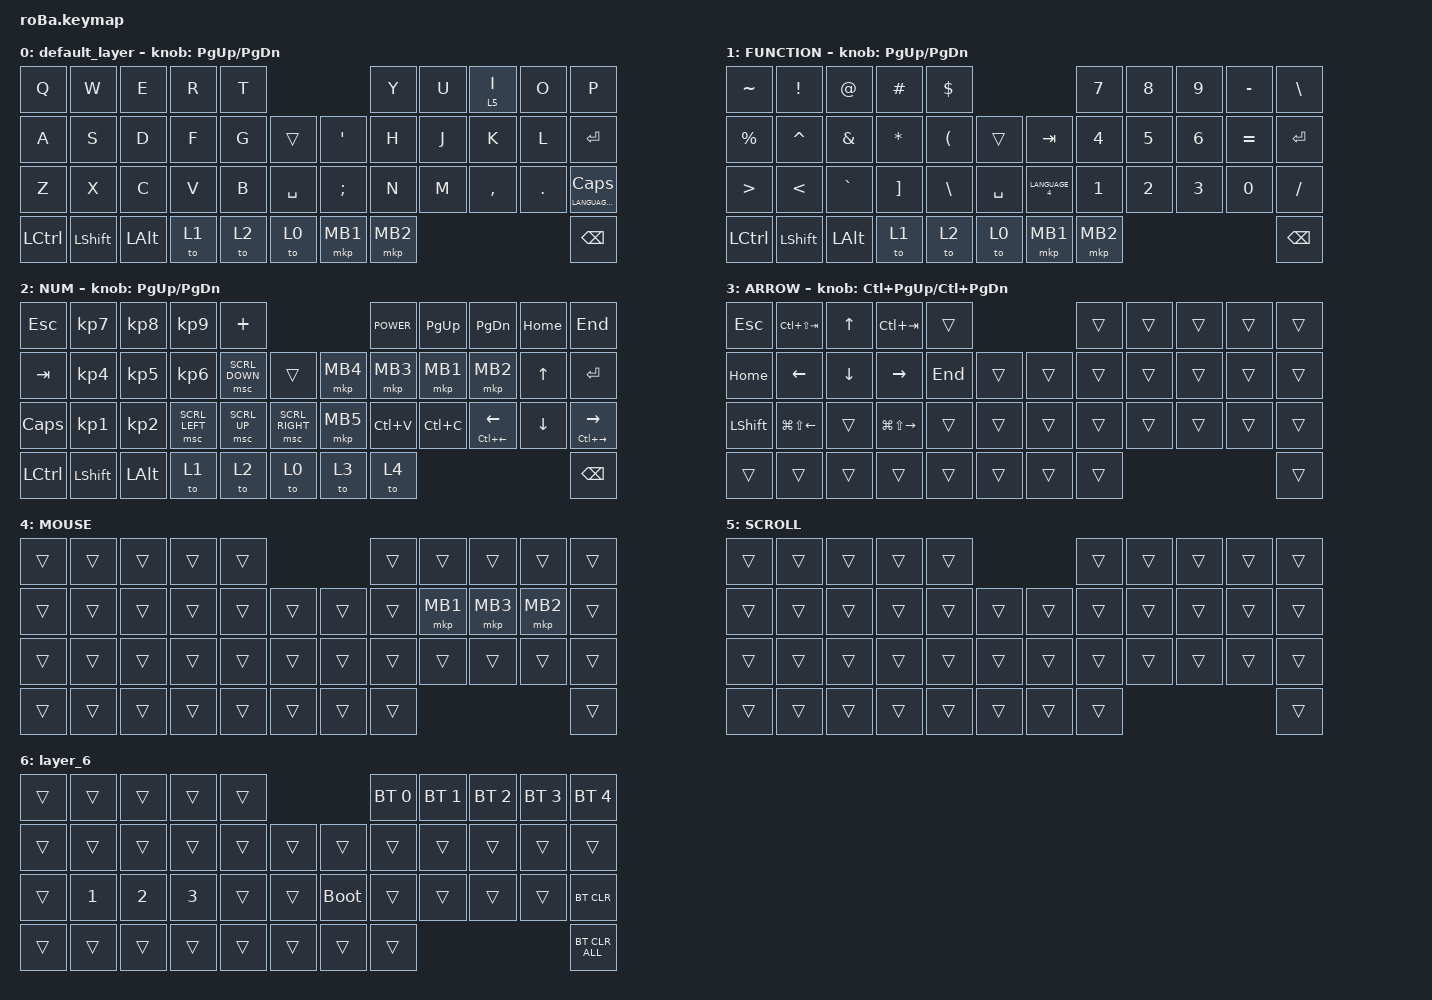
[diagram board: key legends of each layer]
#include <behaviors.dtsi>
#include <dt-bindings/zmk/bt.h>
#include <dt-bindings/zmk/keys.h>
#include <dt-bindings/zmk/pointing.h>

&mt {
    flavor = "balanced";
    quick-tap-ms = <0>;
};

&trackball {
    automouse-layer = <4>;
    scroll-layers = <5>;

    // arrows {
    //     layers = <3>;
    //     bindings =
    //         <&kp RIGHT_ARROW>,
    //         <&kp LEFT_ARROW>,
    //         <&kp UP_ARROW>,
    //         <&kp DOWN_ARROW>;
    //     tick = <10>;
    //     wait-ms = <5>;
    //     tap-ms = <5>;
    // };
};

/ {
    combos {
        compatible = "zmk,combos";

        tab {
            bindings = <&kp TAB>;
            key-positions = <11 12>;
        };

        shift_tab {
            bindings = <&kp LS(TAB)>;
            key-positions = <12 13>;
        };

        muhennkann {
            bindings = <&to_layer_0 INT_MUHENKAN>;
            key-positions = <11 10>;
        };

        double_quotation {
            bindings = <&kp DOUBLE_QUOTES>;
            key-positions = <20 21>;
        };

        eq {
            bindings = <&kp EQUAL>;
            key-positions = <24 25>;
        };
    };

    macros {
        to_layer_0: to_layer_0 {
            compatible = "zmk,behavior-macro-one-param";
            #binding-cells = <1>;
            bindings = <&to 0 &macro_param_1to1 &kp MACRO_PLACEHOLDER>;
            label = "TO_LAYER_0";
        };
    };

    behaviors {
        lt_to_layer_0: lt_to_layer_0 {
            compatible = "zmk,behavior-hold-tap";
            label = "LAYER_TAP_TO_0";
            bindings = <&mo>, <&to_layer_0>;

            #binding-cells = <2>;
            tapping-term-ms = <200>;
        };
    };

    keymap {
        compatible = "zmk,keymap";

        default_layer {
            bindings = <
&kp Q      &kp W           &kp E         &kp R  &kp T                                   &kp Y     &kp U  &lt 5 I    &kp O    &kp P
&kp A      &kp S           &kp D         &kp F  &kp G  &trans         &kp SINGLE_QUOTE  &kp H     &kp J  &kp K      &kp L    &kp ENTER
&kp Z      &kp X           &kp C         &kp V  &kp B  &kp SPACE      &kp SEMICOLON     &kp N     &kp M  &kp COMMA  &kp DOT  &mt LANGUAGE_4 CAPSLOCK
&kp LCTRL  &kp LEFT_SHIFT  &kp LEFT_ALT  &to 1  &to 2  &to 0          &mkp MB1          &mkp MB2                             &kp BACKSPACE
            >;

            sensor-bindings = <&inc_dec_kp PG_UP PAGE_DOWN>;
        };

        FUNCTION {
            bindings = <
&kp TILDE         &kp EXCL        &kp AT        &kp HASH           &kp DLLR                                      &kp NUMBER_7  &kp NUMBER_8  &kp NUMBER_9  &kp MINUS     &kp BSLH
&kp PRCNT         &kp CARET       &kp AMPS      &kp STAR           &kp LPAR       &trans         &kp TAB         &kp NUMBER_4  &kp NUMBER_5  &kp NUMBER_6  &kp EQUAL     &kp ENTER
&kp GREATER_THAN  &kp LT          &kp GRAVE     &kp RIGHT_BRACKET  &kp BACKSLASH  &kp SPACE      &kp LANGUAGE_4  &kp NUMBER_1  &kp NUMBER_2  &kp NUMBER_3  &kp NUMBER_0  &kp SLASH
&kp LEFT_CONTROL  &kp LEFT_SHIFT  &kp LEFT_ALT  &to 1              &to 2          &to 0          &mkp MB1        &mkp MB2                                                &kp BACKSPACE
            >;

            sensor-bindings = <&inc_dec_kp PAGE_UP PAGE_DOWN>;
        };

        NUM {
            bindings = <
&kp ESC           &kp KP_NUMBER_7  &kp KP_NUMBER_8  &kp KP_NUMBER_9  &kp PLUS                                       &kp C_POWER  &kp PAGE_UP  &kp PAGE_DOWN                  &kp HOME        &kp END
&kp TAB           &kp KP_NUMBER_4  &kp KP_NUMBER_5  &kp KP_NUMBER_6  &msc SCRL_DOWN  &trans               &mkp MB4  &mkp MB3     &mkp MB1     &mkp MB2                       &kp UP_ARROW    &kp ENTER
&kp CAPSLOCK      &kp KP_NUMBER_1  &kp KP_NUMBER_2  &msc SCRL_LEFT   &msc SCRL_UP    &msc SCRL_RIGHT      &mkp MB5  &kp LC(V)    &kp LC(C)    &mt LC(LEFT_ARROW) LEFT_ARROW  &kp DOWN_ARROW  &mt LC(RIGHT_ARROW) RIGHT_ARROW
&kp LEFT_CONTROL  &kp LEFT_SHIFT   &kp LEFT_ALT     &to 1            &to 2           &to 0                &to 3     &to 4                                                                    &kp BACKSPACE
            >;

            sensor-bindings = <&inc_dec_kp PAGE_UP PAGE_DOWN>;
        };

        ARROW {
            bindings = <
&kp ESCAPE      &kp LC(LS(TAB))         &kp UP_ARROW    &kp LC(TAB)              &trans                       &trans  &trans  &trans  &trans  &trans
&kp HOME        &kp LEFT_ARROW          &kp DOWN_ARROW  &kp RIGHT_ARROW          &kp END  &trans      &trans  &trans  &trans  &trans  &trans  &trans
&kp LEFT_SHIFT  &kp LG(LS(LEFT_ARROW))  &trans          &kp LG(LS(RIGHT_ARROW))  &trans   &trans      &trans  &trans  &trans  &trans  &trans  &trans
&trans          &trans                  &trans          &trans                   &trans   &trans      &trans  &trans                          &trans
            >;

            sensor-bindings = <&inc_dec_kp LC(PAGE_UP) LC(PAGE_DOWN)>;
        };

        MOUSE {
            bindings = <
&trans  &trans  &trans  &trans  &trans                      &trans  &trans    &trans    &trans    &trans
&trans  &trans  &trans  &trans  &trans  &trans      &trans  &trans  &mkp MB1  &mkp MB3  &mkp MB2  &trans
&trans  &trans  &trans  &trans  &trans  &trans      &trans  &trans  &trans    &trans    &trans    &trans
&trans  &trans  &trans  &trans  &trans  &trans      &trans  &trans                                &trans
            >;
        };

        SCROLL {
            bindings = <
&trans  &trans  &trans  &trans  &trans                      &trans  &trans  &trans  &trans  &trans
&trans  &trans  &trans  &trans  &trans  &trans      &trans  &trans  &trans  &trans  &trans  &trans
&trans  &trans  &trans  &trans  &trans  &trans      &trans  &trans  &trans  &trans  &trans  &trans
&trans  &trans  &trans  &trans  &trans  &trans      &trans  &trans                          &trans
            >;
        };

        layer_6 {
            bindings = <
&trans  &trans        &trans        &trans        &trans                           &bt BT_SEL 0  &bt BT_SEL 1  &bt BT_SEL 2  &bt BT_SEL 3  &bt BT_SEL 4
&trans  &trans        &trans        &trans        &trans  &trans      &trans       &trans        &trans        &trans        &trans        &trans
&trans  &kp NUMBER_1  &kp NUMBER_2  &kp NUMBER_3  &trans  &trans      &bootloader  &trans        &trans        &trans        &trans        &bt BT_CLR
&trans  &trans        &trans        &trans        &trans  &trans      &trans       &trans                                                  &bt BT_CLR_ALL
            >;
        };
    };
};
